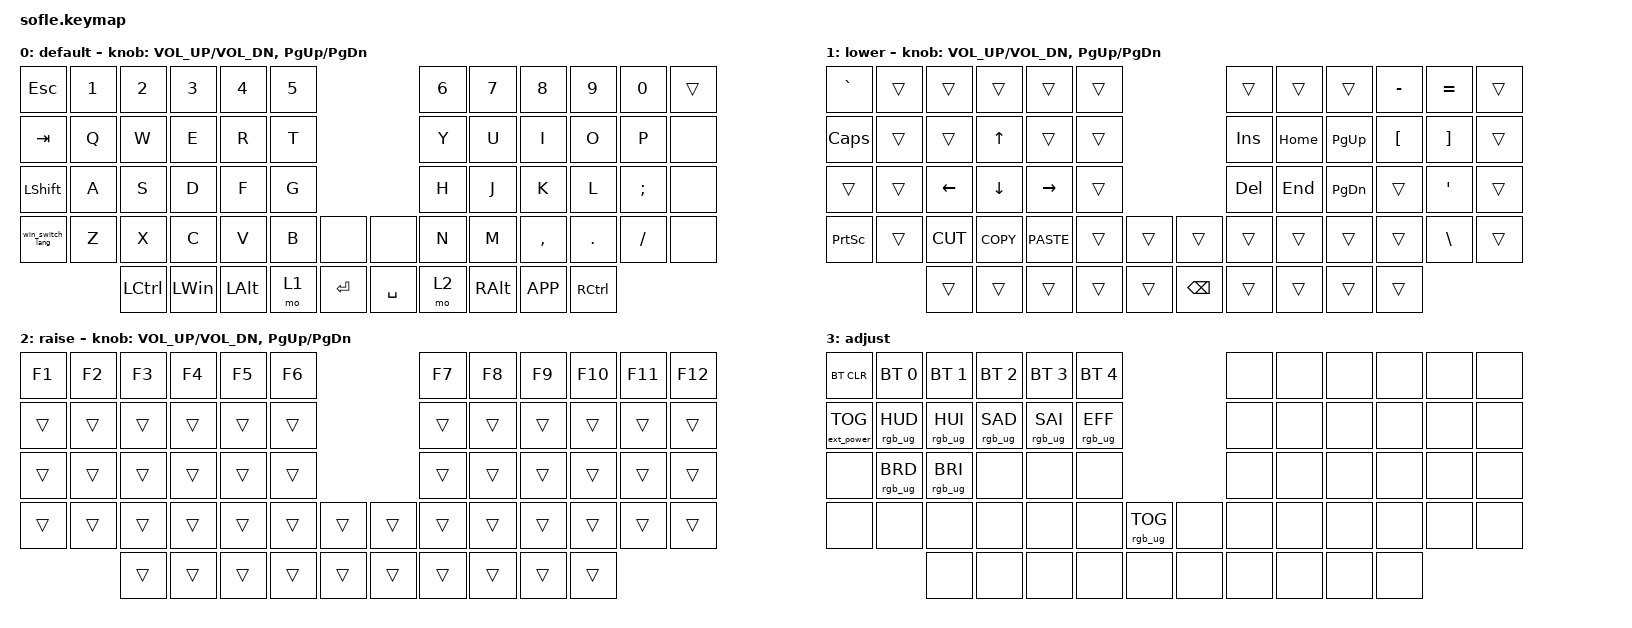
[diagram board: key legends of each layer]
/*
 * Copyright (c) 2020 The ZMK Contributors
 *
 * SPDX-License-Identifier: MIT
 */

#include <behaviors.dtsi>
#include <dt-bindings/zmk/bt.h>
#include <dt-bindings/zmk/ext_power.h>
#include <dt-bindings/zmk/keys.h>
#include <dt-bindings/zmk/rgb.h>

#define BASE 0
#define LOWER 1
#define RAISE 2
#define ADJUST 3

/ {
    // Activate ADJUST layer by pressing raise and lower

    conditional_layers {
        compatible = "zmk,conditional-layers";

        service_layer {
            if-layers = <LOWER RAISE>;
            then-layer = <ADJUST>;
        };
    };

    macros {
        win_switch_lang: win_switch_lang {
            compatible = "zmk,behavior-macro";
            #binding-cells = <0>;
            bindings =
                <&macro_press>,
                <&kp LEFT_ALT>,
                <&macro_tap>,
                <&kp LEFT_SHIFT>,
                <&macro_release>,
                <&kp LEFT_ALT>;

            label = "WIN_SWITCH_LANG";
        };
    };

    keymap {
        compatible = "zmk,keymap";

        default_layer {
            display-name = "default";

            // ------------------------------------------------------------------------------------------------------------
            // |   `   |  1  |  2  |  3   |  4   |  5   |                   |  6   |  7    |  8    |  9   |   0   |       |
            // |  ESC  |  Q  |  W  |  E   |  R   |  T   |                   |  Y   |  U    |  I    |  O   |   P   | BKSPC |
            // |  TAB  |  A  |  S  |  D   |  F   |  G   |                   |  H   |  J    |  K    |  L   |   ;   |   '   |
            // | SHIFT |  Z  |  X  |  C   |  V   |  B   |  MUTE  |  |       |  N   |  M    |  ,    |  .   |   /   | SHIFT |
            //               | GUI | ALT  | CTRL | LOWER|  ENTER |  | SPACE | RAISE| CTRL  | ALT   | GUI  |

            bindings = <
&kp ESC           &kp N1  &kp N2     &kp N3        &kp N4        &kp N5                        &kp N6  &kp N7         &kp N8     &kp N9     &kp N0    &trans
&kp TAB           &kp Q   &kp W      &kp E         &kp R         &kp T                         &kp Y   &kp U          &kp I      &kp O      &kp P     &none
&kp LEFT_SHIFT    &kp A   &kp S      &kp D         &kp F         &kp G                         &kp H   &kp J          &kp K      &kp L      &kp SEMI  &none
&win_switch_lang  &kp Z   &kp X      &kp C         &kp V         &kp B   &none      &none      &kp N   &kp M          &kp COMMA  &kp DOT    &kp FSLH  &none
                          &kp LCTRL  &kp LEFT_WIN  &kp LEFT_ALT  &mo 1   &kp RET    &kp SPACE  &mo 2   &kp RIGHT_ALT  &kp K_APP  &kp RCTRL
            >;

            sensor-bindings = <&inc_dec_kp C_VOL_UP C_VOL_DN &inc_dec_kp PG_UP PG_DN>;
        };

        lower_layer {
            display-name = "lower";

            // TODO: Some binds are waiting for shifted keycode support.
            // ------------------------------------------------------------------------------------------------------------
            // |       |  F1 |  F2 |  F3  |  F4  |  F5  |                   |  F6  |  F7   |  F8   |  F9  |  F10  |  F11  |
            // |   `   |  1  |  2  |  3   |  4   |  5   |                   |  6   |  7    |  8    |  9   |   0   |  F12  |
            // |       |  !  |  @  |  #   |  $   |  %   |                   |  ^   |  &    |  *    |  (   |   )   |   |   |
            // |       |  =  |  -  |  +   |  {   |  }   |        |  |       |  [   |  ]    |  ;    |  :   |   \   |       |
            //               |     |      |      |      |        |  |       |      |       |       |      |

            bindings = <
&kp GRAVE        &trans  &trans          &trans          &trans           &trans                           &trans      &trans    &trans         &kp MINUS         &kp EQUAL          &trans
&kp CAPSLOCK     &trans  &trans          &kp UP_ARROW    &trans           &trans                           &kp INSERT  &kp HOME  &kp PAGE_UP    &kp LEFT_BRACKET  &kp RIGHT_BRACKET  &trans
&trans           &trans  &kp LEFT_ARROW  &kp DOWN_ARROW  &kp RIGHT_ARROW  &trans                           &kp DELETE  &kp END   &kp PAGE_DOWN  &trans            &kp SQT            &trans
&kp PRINTSCREEN  &trans  &kp K_CUT       &kp K_COPY      &kp K_PASTE      &trans  &trans    &trans         &trans      &trans    &trans         &trans            &kp BACKSLASH      &trans
                         &trans          &trans          &trans           &trans  &trans    &kp BACKSPACE  &trans      &trans    &trans         &trans
            >;

            sensor-bindings = <&inc_dec_kp C_VOL_UP C_VOL_DN &inc_dec_kp PG_UP PG_DN>;
        };

        raise_layer {
            display-name = "raise";

            // ------------------------------------------------------------------------------------------------------------
            // | BTCLR | BT1  | BT2  |  BT3  |  BT4  |  BT5 |                |      |      |       |      |       |       |
            // |       | INS  | PSCR | GUI   |       |      |                | PGUP |      |   ^   |      |       |       |
            // |       | ALT  | CTRL | SHIFT |       | CAPS |                | PGDN |   <- |   v   |  ->  |  DEL  | BKSPC |
            // |       | UNDO | CUT  | COPY  | PASTE |      |      |  |      |      |      |       |      |       |       |
            //                |      |       |       |      |      |  |      |      |      |       |      |

            bindings = <
&kp F1  &kp F2  &kp F3  &kp F4  &kp F5  &kp F6                    &kp F7  &kp F8  &kp F9  &kp F10  &kp F11  &kp F12
&trans  &trans  &trans  &trans  &trans  &trans                    &trans  &trans  &trans  &trans   &trans   &trans
&trans  &trans  &trans  &trans  &trans  &trans                    &trans  &trans  &trans  &trans   &trans   &trans
&trans  &trans  &trans  &trans  &trans  &trans  &trans    &trans  &trans  &trans  &trans  &trans   &trans   &trans
                &trans  &trans  &trans  &trans  &trans    &trans  &trans  &trans  &trans  &trans
            >;

            sensor-bindings = <&inc_dec_kp C_VOL_UP C_VOL_DN &inc_dec_kp PG_UP PG_DN>;
        };

        adjust_layer {
            // ----------------------------------------------------------------------------------------------------------------------------
            // | BTCLR  |  BT1    |  BT2    |   BT3   |   BT4   |   BT5   |                  |      |      |       |      |       |       |
            // | EXTPWR | RGB_HUD | RGB_HUI | RGB_SAD | RGB_SAI | RGB_EFF |                  |      |      |       |      |       |       |
            // |        | RGB_BRD | RGB_BRI |         |         |         |                  |      |      |       |      |       |       |
            // |        |         |         |         |         |         | RGB_TOG | |      |      |      |       |      |       |       |
            //                    |         |         |         |         |         | |      |      |      |       |      |

            display-name = "adjust";
            bindings = <
&bt BT_CLR         &bt BT_SEL 0     &bt BT_SEL 1     &bt BT_SEL 2     &bt BT_SEL 3     &bt BT_SEL 4                               &none  &none  &none  &none  &none  &none
&ext_power EP_TOG  &rgb_ug RGB_HUD  &rgb_ug RGB_HUI  &rgb_ug RGB_SAD  &rgb_ug RGB_SAI  &rgb_ug RGB_EFF                            &none  &none  &none  &none  &none  &none
&none              &rgb_ug RGB_BRD  &rgb_ug RGB_BRI  &none            &none            &none                                      &none  &none  &none  &none  &none  &none
&none              &none            &none            &none            &none            &none            &rgb_ug RGB_TOG    &none  &none  &none  &none  &none  &none  &none
                                    &none            &none            &none            &none            &none              &none  &none  &none  &none  &none
            >;
        };
    };
};
